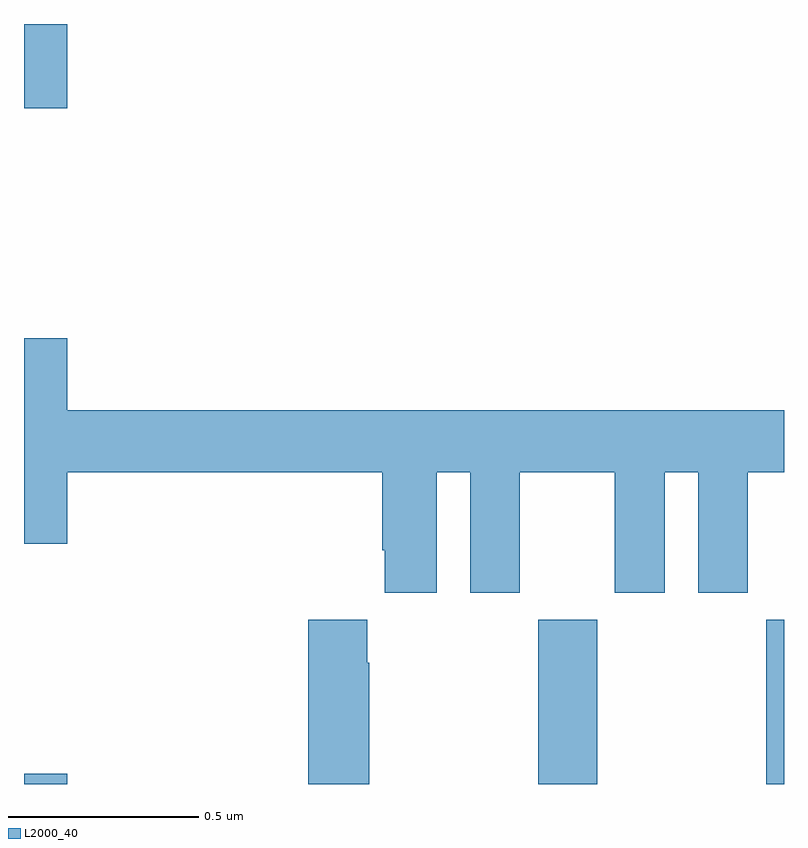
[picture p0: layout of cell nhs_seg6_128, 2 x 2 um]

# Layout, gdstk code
import gdstk
lib = gdstk.Library(unit=1e-6, precision=1e-09)
def R(c, l, rs):  # rectangles x0, y0, x1, y1
    for r in rs: c.add(gdstk.rectangle(r[:2], r[2:], *l))
def P(c, l, *ps):  # polygons
    for p in ps: c.add(gdstk.Polygon(p, *l))
L2000_40 = (2000, 40)

nhs_seg6_128 = lib.new_cell('nhs_seg6_128')
R(nhs_seg6_128, L2000_40, [(112,962.5,112.114,962.527), (113.353,962.5,113.508,962.932), (113.953,962.5,114,962.932), (112,964.278,112.114,964.5)])
P(nhs_seg6_128, L2000_40, [(113.086,963.32),(113.174,963.32),(113.174,963.003),(113.305,963.003),(113.305,963.32),(113.555,963.32),(113.555,963.003),(113.686,963.003),(113.686,963.32),(113.774,963.32),(113.774,963.003),(113.905,963.003),(113.905,963.32),(114,963.32),(114,963.484),(112.114,963.484),(112.114,963.673),(112,963.673),(112,963.132),(112.114,963.132),(112.114,963.32),(112.943,963.32),(112.943,963.115),(112.949,963.115),(112.949,963.003),(113.086,963.003)],
  [(112.908,962.819),(112.903,962.819),(112.903,962.932),(112.748,962.932),(112.748,962.5),(112.908,962.5)])

lib.write_gds('nhs_seg6_128.gds')
